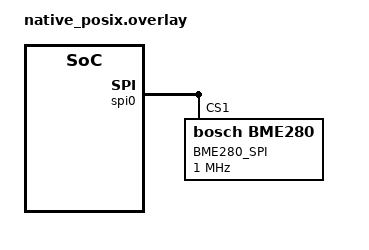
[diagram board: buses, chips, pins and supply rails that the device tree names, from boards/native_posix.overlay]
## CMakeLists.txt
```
#
# Copyright (c) 2022 Nofence AS
#

cmake_minimum_required(VERSION 3.20.0)

find_package(Zephyr REQUIRED HINTS $ENV{ZEPHYR_BASE})
project(env_sensor_test)

zephyr_include_directories(${CMAKE_CURRENT_BINARY_DIR})
include_directories(${CMAKE_CURRENT_BINARY_DIR})

FILE(GLOB app_sources 
        ${CMAKE_CURRENT_SOURCE_DIR}/mock/*.c
        ${CMAKE_CURRENT_SOURCE_DIR}/mock/drivers/*.c
        ${CMAKE_CURRENT_SOURCE_DIR}/src/*.c 
        ${CMAKE_CURRENT_SOURCE_DIR}/../../src/events/environment/*.c
        ${CMAKE_CURRENT_SOURCE_DIR}/../../src/modules/environment/*.c
        ${CMAKE_CURRENT_SOURCE_DIR}/../../src/events/error_handler/*.c
)
target_sources(app PRIVATE ${app_sources})
target_include_directories(app PRIVATE ${APP_SOURCE})

zephyr_library_include_directories(
  ${CMAKE_CURRENT_SOURCE_DIR}/mock
  ${CMAKE_CURRENT_SOURCE_DIR}/../../src/modules/environment/
  ${CMAKE_CURRENT_SOURCE_DIR}/../../src/events/environment
  ${CMAKE_CURRENT_SOURCE_DIR}/../../src/events/error_handler/
)
```

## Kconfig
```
menu "APPLICATION_CODE"
	menu "ENV_SENSOR"
    	rsource "./../../src/modules/environment/Kconfig"
	endmenu # ENV_SENSOR

	menu "ERROR_HANDLER"
    	rsource "./../../src/modules/error_handler/Kconfig"
	endmenu
endmenu # APPLICATION CODE

menu "Zephyr Kernel"
source "Kconfig.zephyr"
endmenu
```

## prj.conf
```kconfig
CONFIG_ZTEST=y
CONFIG_ZTEST_MOCKING=y
CONFIG_ZTEST_PARAMETER_COUNT=20

# Configuration required by Event Manager
CONFIG_EVENT_MANAGER=y
CONFIG_LINKER_ORPHAN_SECTION_PLACE=y
CONFIG_SYSTEM_WORKQUEUE_STACK_SIZE=16384
CONFIG_HEAP_MEM_POOL_SIZE=16384
CONFIG_REBOOT=y

CONFIG_EMUL=y
CONFIG_SPI_EMUL=y
CONFIG_SPI=y

CONFIG_CBPRINTF_FP_SUPPORT=y
```

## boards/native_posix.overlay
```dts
/* Copyright (c) 2022 Nofence AS
 */

&spi0 {
        environment_sensor: bme280@1 {
                compatible = "bosch,bme280";
                label = "BME280_SPI";
                reg = <1>;
                spi-max-frequency = <1000000>;
        };
};
```

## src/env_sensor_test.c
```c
/*
 * Copyright (c) 2022 Nofence AS
 */

#include <ztest.h>
#include <zephyr.h>
#include <drivers/sensor.h>
#include "env_sensor_event.h"
#include "error_event.h"
#include <stdlib.h>

K_SEM_DEFINE(env_data_sem, 0, 1);
K_SEM_DEFINE(error_sem, 0, 1);

test_id_t cur_test = TEST_SANITY_PASS;

/* Provide custom assert post action handler to handle the assertion on OOM
 * error in Event Manager.
 */
BUILD_ASSERT(!IS_ENABLED(CONFIG_ASSERT_NO_FILE_INFO));
void assert_post_action(const char *file, unsigned int line)
{
	printk("assert_post_action - file: %s (line: %u)\n", file, line);
}

void test_init(void)
{
	zassert_false(event_manager_init(), "Error when initializing event manager");
}

void test_event_contents(void)
{
	/* We want to test and say that sanity should pass. */
	cur_test = TEST_SANITY_PASS;
	ztest_returns_value(sensor_sample_fetch, 0);
	ztest_returns_value(sensor_channel_get, 0);
	ztest_returns_value(sensor_channel_get, 0);
	ztest_returns_value(sensor_channel_get, 0);

	struct request_env_sensor_event *ev = new_request_env_sensor_event();
	EVENT_SUBMIT(ev);

	int err = k_sem_take(&env_data_sem, K_SECONDS(30));
	zassert_equal(err, 0, "");
}

void test_event_contents_sanity_fail_temp(void)
{
	/* We want to test and say that sanity should pass. */
	cur_test = TEST_SANITY_FAIL_TEMP;
	ztest_returns_value(sensor_sample_fetch, 0);
	ztest_returns_value(sensor_channel_get, 0);
	ztest_returns_value(sensor_channel_get, 0);
	ztest_returns_value(sensor_channel_get, 0);

	struct request_env_sensor_event *ev = new_request_env_sensor_event();
	EVENT_SUBMIT(ev);

	/* Should hang since it never submits the event since sanity fails. */
	int err = k_sem_take(&env_data_sem, K_SECONDS(30));
	zassert_not_equal(err, 0, "");
}

void test_event_contents_sanity_fail_pressure(void)
{
	/* We want to test and say that sanity should pass. */
	cur_test = TEST_SANITY_FAIL_PRESS;
	ztest_returns_value(sensor_sample_fetch, 0);
	ztest_returns_value(sensor_channel_get, 0);
	ztest_returns_value(sensor_channel_get, 0);
	ztest_returns_value(sensor_channel_get, 0);

	struct request_env_sensor_event *ev = new_request_env_sensor_event();
	EVENT_SUBMIT(ev);

	/* Should hang since it never submits the event since sanity fails. */
	int err = k_sem_take(&env_data_sem, K_SECONDS(30));
	zassert_not_equal(err, 0, "");
}

void test_event_contents_sanity_fail_humidity(void)
{
	/* We want to test and say that sanity should pass. */
	cur_test = TEST_SANITY_FAIL_HUMIDITY;
	ztest_returns_value(sensor_sample_fetch, 0);
	ztest_returns_value(sensor_channel_get, 0);
	ztest_returns_value(sensor_channel_get, 0);
	ztest_returns_value(sensor_channel_get, 0);

	struct request_env_sensor_event *ev = new_request_env_sensor_event();
	EVENT_SUBMIT(ev);

	/* Should hang since it never submits the event since sanity fails. */
	int err = k_sem_take(&env_data_sem, K_SECONDS(30));
	zassert_not_equal(err, 0, "");
}

void test_event_contents_sanity_warn_humidity(void)
{
	k_sem_take(&error_sem, K_SECONDS(30));
	k_sem_take(&env_data_sem, K_SECONDS(30));

	cur_test = TEST_SANITY_FAIL_HUMIDITY_WARN;
	ztest_returns_value(sensor_sample_fetch, 0);
	ztest_returns_value(sensor_channel_get, 0);
	ztest_returns_value(sensor_channel_get, 0);
	ztest_returns_value(sensor_channel_get, 0);

	struct request_env_sensor_event *ev = new_request_env_sensor_event();
	EVENT_SUBMIT(ev);

	/* We only get warning, should still get the value. */
	int err = k_sem_take(&env_data_sem, K_SECONDS(30));
	zassert_equal(err, 0, "");

	err = k_sem_take(&error_sem, K_SECONDS(30));
	zassert_equal(err, 0, "");
}

void test_event_contents_sanity_warn_temp(void)
{
	k_sem_take(&error_sem, K_SECONDS(30));
	k_sem_take(&env_data_sem, K_SECONDS(30));

	cur_test = TEST_SANITY_FAIL_TEMP_WARN;
	ztest_returns_value(sensor_sample_fetch, 0);
	ztest_returns_value(sensor_channel_get, 0);
	ztest_returns_value(sensor_channel_get, 0);
	ztest_returns_value(sensor_channel_get, 0);

	struct request_env_sensor_event *ev = new_request_env_sensor_event();
	EVENT_SUBMIT(ev);

	/* We only get warning, should still get the value. */
	int err = k_sem_take(&env_data_sem, K_SECONDS(30));
	zassert_equal(err, 0, "");

	err = k_sem_take(&error_sem, K_SECONDS(30));
	zassert_equal(err, 0, "");
}

void test_event_contents_sanity_warn_press(void)
{
	k_sem_take(&error_sem, K_SECONDS(30));
	k_sem_take(&env_data_sem, K_SECONDS(30));

	cur_test = TEST_SANITY_FAIL_PRESS_WARN;
	ztest_returns_value(sensor_sample_fetch, 0);
	ztest_returns_value(sensor_channel_get, 0);
	ztest_returns_value(sensor_channel_get, 0);
	ztest_returns_value(sensor_channel_get, 0);

	struct request_env_sensor_event *ev = new_request_env_sensor_event();
	EVENT_SUBMIT(ev);

	/* We only get warning, should still get the value. */
	int err = k_sem_take(&env_data_sem, K_SECONDS(30));
	zassert_equal(err, 0, "");

	err = k_sem_take(&error_sem, K_SECONDS(30));
	zassert_equal(err, 0, "");
}

void test_main(void)
{
	ztest_test_suite(env_sensor_tests, ztest_unit_test(test_init),
			 ztest_unit_test(test_event_contents),
			 ztest_unit_test(test_event_contents_sanity_fail_temp),
			 ztest_unit_test(test_event_contents_sanity_fail_pressure),
			 ztest_unit_test(test_event_contents_sanity_fail_humidity),
			 ztest_unit_test(test_event_contents_sanity_warn_temp),
			 ztest_unit_test(test_event_contents_sanity_warn_press),
			 ztest_unit_test(test_event_contents_sanity_warn_humidity));
	ztest_run_test_suite(env_sensor_tests);
}

/* Returns true if equal within epsilon limit. */
bool check_equal_float(float a, float b)
{
	float epsilon = 0.0001;
	return (abs(a - b) < epsilon);
}

static bool event_handler(const struct event_header *eh)
{
	if (is_env_sensor_event(eh)) {
		struct env_sensor_event *ev = cast_env_sensor_event(eh);
		if (cur_test == TEST_SANITY_PASS) {
			/* Check if we get the expected float values. */
			zassert_true(check_equal_float(ev->temp, 25.013532), "");
			zassert_true(check_equal_float(ev->press, 95.000125), "");
			zassert_true(check_equal_float(ev->humidity, 11.100532), "");
		}
		k_sem_give(&env_data_sem);
	}
	if (is_error_event(eh)) {
		struct error_event *ev = cast_error_event(eh);
		zassert_equal(ev->sender, ERR_ENV_SENSOR, "Mismatched sender.");

		zassert_equal(ev->code, -ERANGE, "Mismatched error code.");
		char *expected_message;
		if (cur_test == TEST_SANITY_FAIL_TEMP || cur_test == TEST_SANITY_FAIL_PRESS ||
		    cur_test == TEST_SANITY_FAIL_HUMIDITY) {
			expected_message = "Detected a sensor value error range";
			zassert_equal(ev->severity, ERR_SEVERITY_ERROR, "Mismatched severity.");
		} else if (cur_test == TEST_SANITY_FAIL_TEMP_WARN ||
			   cur_test == TEST_SANITY_FAIL_PRESS_WARN ||
			   cur_test == TEST_SANITY_FAIL_HUMIDITY_WARN) {
			expected_message = "Detected a sensor value warning range";
			zassert_equal(ev->severity, ERR_SEVERITY_WARNING, "Mismatched severity.");
		} else {
			expected_message = "Unreachable.";
		}

		zassert_equal(ev->dyndata.size, strlen(expected_message),
			      "Mismatched message length.");

		zassert_mem_equal(ev->dyndata.data, expected_message, ev->dyndata.size,
				  "Mismatched user message.");
		k_sem_give(&error_sem);
	}
	return false;
}

EVENT_LISTENER(test_main, event_handler);
EVENT_SUBSCRIBE(test_main, env_sensor_event);
EVENT_SUBSCRIBE(test_main, error_event);
```
